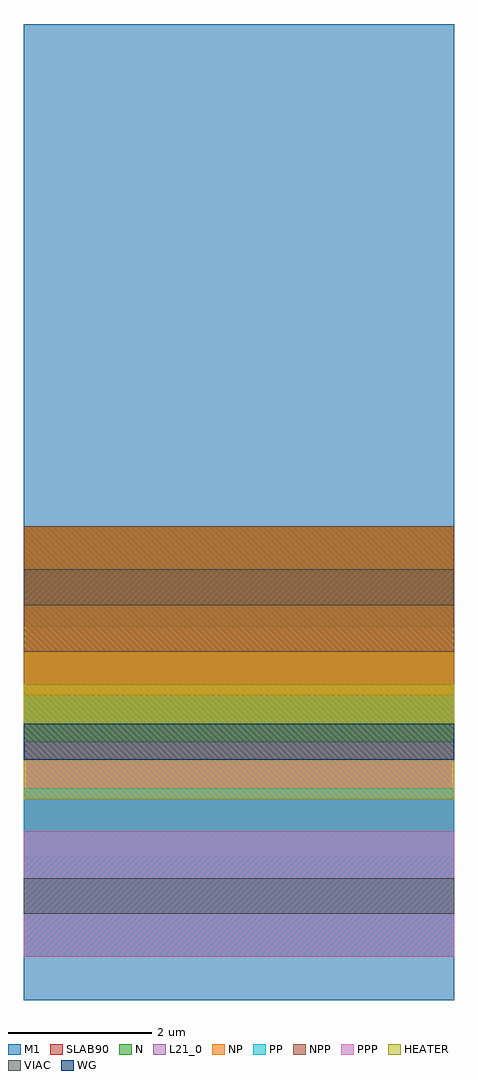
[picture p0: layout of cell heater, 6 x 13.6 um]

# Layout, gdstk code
import gdstk
lib = gdstk.Library(unit=1e-6, precision=1e-09)
def R(c, l, rs):  # rectangles x0, y0, x1, y1
    for r in rs: c.add(gdstk.rectangle(r[:2], r[2:], *l))
WG = (1, 0)
SLAB90 = (3, 0)
N = (20, 0)
L21_0 = (21, 0)
NP = (22, 0)
PP = (23, 0)
NPP = (24, 0)
PPP = (25, 0)
VIAC = (40, 0)
M1 = (41, 0)
HEATER = (47, 0)

heater = lib.new_cell('heater')
R(heater, WG, [(-3,-0.25,3,0.25)])
R(heater, SLAB90, [(-3,-3,3,3)])
R(heater, N, [(-3,0,3,3)])
R(heater, L21_0, [(-3,-3,3,0)])
R(heater, NP, [(-3,0.65,3,3)])
R(heater, PP, [(-3,-3,3,-0.65)])
R(heater, NPP, [(-3,1.25,3,3)])
R(heater, PPP, [(-3,-3,3,-1.25)])
R(heater, VIAC, [(-3,-2.4,3,-1.9), (-3,1.9,3,2.4)])
R(heater, M1, [(-3,-3.6,3,-1.6), (-3,1.6,3,10)])
R(heater, HEATER, [(-3,-0.8,3,0.8)])

lib.write_gds('heater.gds')
